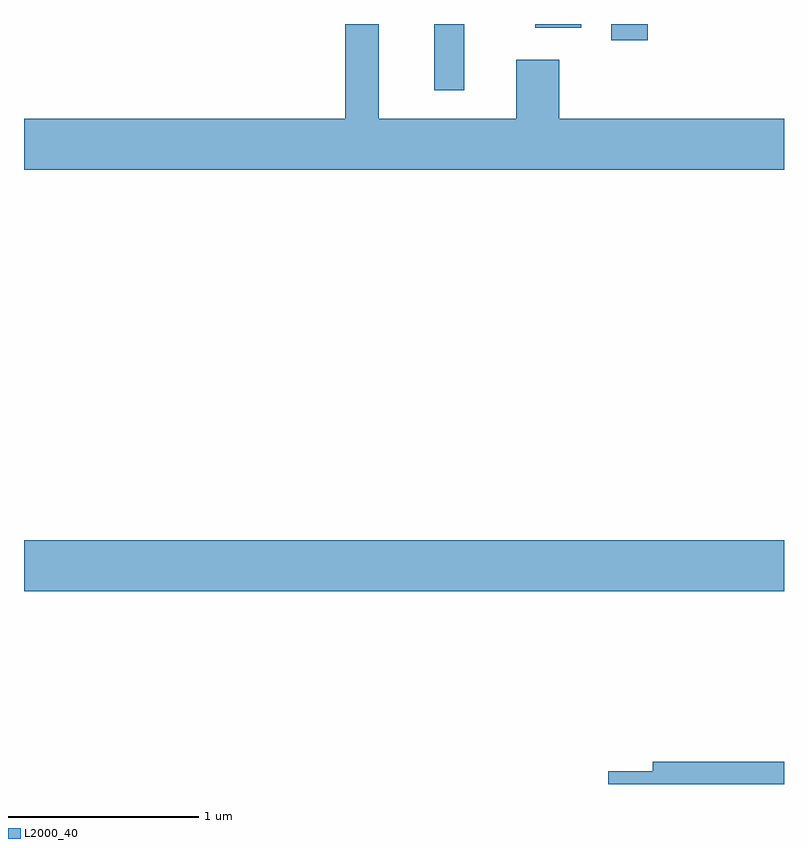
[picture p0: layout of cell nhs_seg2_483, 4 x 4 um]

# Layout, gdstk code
import gdstk
lib = gdstk.Library(unit=1e-6, precision=1e-09)
def R(c, l, rs):  # rectangles x0, y0, x1, y1
    for r in rs: c.add(gdstk.rectangle(r[:2], r[2:], *l))
def P(c, l, *ps):  # polygons
    for p in ps: c.add(gdstk.Polygon(p, *l))
L2000_40 = (2000, 40)

nhs_seg2_483 = lib.new_cell('nhs_seg2_483')
R(nhs_seg2_483, L2000_40, [(199.611,992.816,203.611,993.084), (201.771,995.453,201.929,995.802), (202.701,995.716,202.894,995.802), (202.301,995.781,202.544,995.802)])
P(nhs_seg2_483, L2000_40, [(203.611,995.304),(202.429,995.304),(202.429,995.614),(202.201,995.614),(202.201,995.304),(201.479,995.304),(201.479,995.802),(201.301,995.802),(201.301,995.304),(199.611,995.304),(199.611,995.036),(203.611,995.036)],
  [(203.611,991.919),(202.921,991.919),(202.921,991.869),(202.686,991.869),(202.686,991.802),(203.611,991.802)])

lib.write_gds('nhs_seg2_483.gds')
